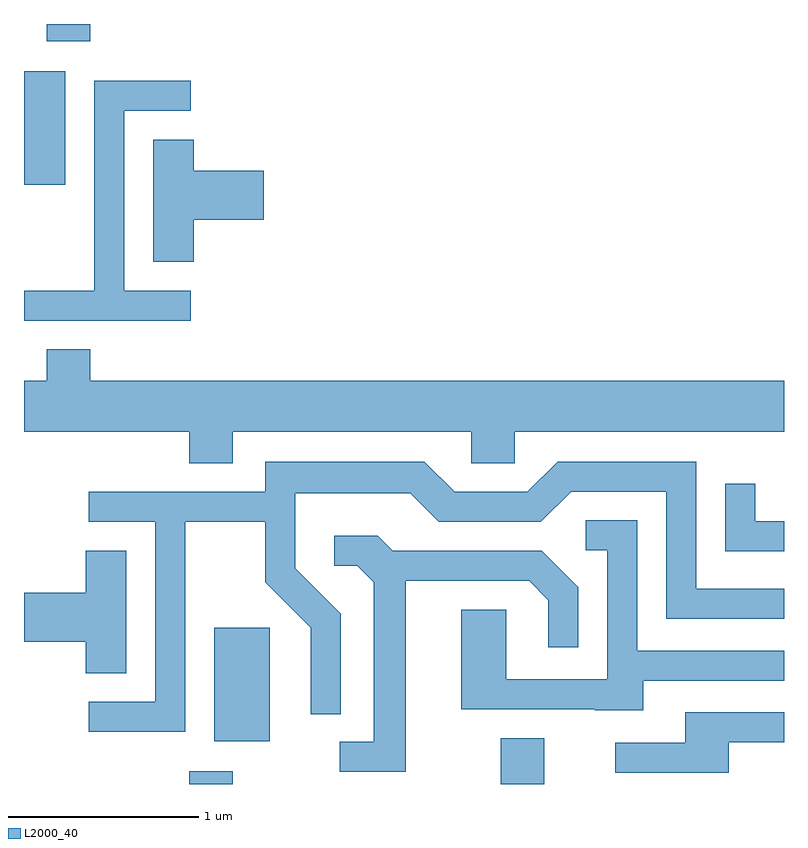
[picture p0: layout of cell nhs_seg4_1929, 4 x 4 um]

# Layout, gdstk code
import gdstk
lib = gdstk.Library(unit=1e-6, precision=1e-09)
def R(c, l, rs):  # rectangles x0, y0, x1, y1
    for r in rs: c.add(gdstk.rectangle(r[:2], r[2:], *l))
def P(c, l, *ps):  # polygons
    for p in ps: c.add(gdstk.Polygon(p, *l))
L2000_40 = (2000, 40)

nhs_seg4_1929 = lib.new_cell('nhs_seg4_1929')
R(nhs_seg4_1929, L2000_40, [(242.481,1303.982,242.709,1304.049), (244.121,1303.982,244.349,1304.224), (242.611,1304.206,242.904,1304.804), (241.611,1307.136,241.829,1307.734), (241.731,1307.891,241.959,1307.982)])
P(nhs_seg4_1929, L2000_40, [(242.488,1306.579),(242.139,1306.579),(242.139,1307.526),(242.488,1307.526),(242.488,1307.684),(241.981,1307.684),(241.981,1306.579),(241.611,1306.579),(241.611,1306.421),(242.488,1306.421)],
  [(242.504,1306.951),(242.874,1306.951),(242.874,1307.209),(242.504,1307.209),(242.504,1307.374),(242.291,1307.374),(242.291,1306.731),(242.504,1306.731)],
  [(242.709,1305.836),(243.966,1305.836),(243.966,1305.671),(244.194,1305.671),(244.194,1305.836),(245.611,1305.836),(245.611,1306.104),(241.959,1306.104),(241.959,1306.269),(241.731,1306.269),(241.731,1306.104),(241.611,1306.104),(241.611,1305.836),(242.481,1305.836),(242.481,1305.671),(242.709,1305.671)],
  [(242.459,1305.361),(242.881,1305.361),(242.881,1305.044),(243.121,1304.804),(243.121,1304.348),(243.279,1304.348),(243.279,1304.877),(243.039,1305.117),(243.039,1305.511),(243.644,1305.511),(243.794,1305.361),(244.332,1305.361),(244.492,1305.521),(244.991,1305.521),(244.991,1304.851),(245.611,1304.851),(245.611,1305.009),(245.149,1305.009),(245.149,1305.679),(244.419,1305.679),(244.259,1305.519),(243.877,1305.519),(243.717,1305.679),(242.881,1305.679),(242.881,1305.519),(241.953,1305.519),(241.953,1305.361),(242.301,1305.361),(242.301,1304.414),(241.953,1304.414),(241.953,1304.256),(242.459,1304.256)],
  [(245.611,1305.364),(245.459,1305.364),(245.459,1305.563),(245.301,1305.563),(245.301,1305.206),(245.611,1305.206)],
  [(244.869,1304.526),(245.611,1304.526),(245.611,1304.684),(244.839,1304.684),(244.839,1305.369),(244.568,1305.369),(244.568,1305.211),(244.681,1305.211),(244.681,1304.534),(244.149,1304.534),(244.149,1304.899),(243.911,1304.899),(243.911,1304.376),(244.615,1304.376),(244.615,1304.371),(244.869,1304.371)],
  [(243.619,1305.051),(244.269,1305.051),(244.371,1304.949),(244.371,1304.703),(244.529,1304.703),(244.529,1305.017),(244.337,1305.209),(243.552,1305.209),(243.472,1305.289),(243.243,1305.289),(243.243,1305.131),(243.364,1305.131),(243.451,1305.044),(243.451,1304.204),(243.273,1304.204),(243.273,1304.046),(243.619,1304.046)],
  [(242.149,1305.209),(241.936,1305.209),(241.936,1304.989),(241.611,1304.989),(241.611,1304.731),(241.936,1304.731),(241.936,1304.566),(242.149,1304.566)],
  [(245.319,1304.201),(245.611,1304.201),(245.611,1304.359),(245.091,1304.359),(245.091,1304.199),(244.723,1304.199),(244.723,1304.041),(245.319,1304.041)])

lib.write_gds('nhs_seg4_1929.gds')
